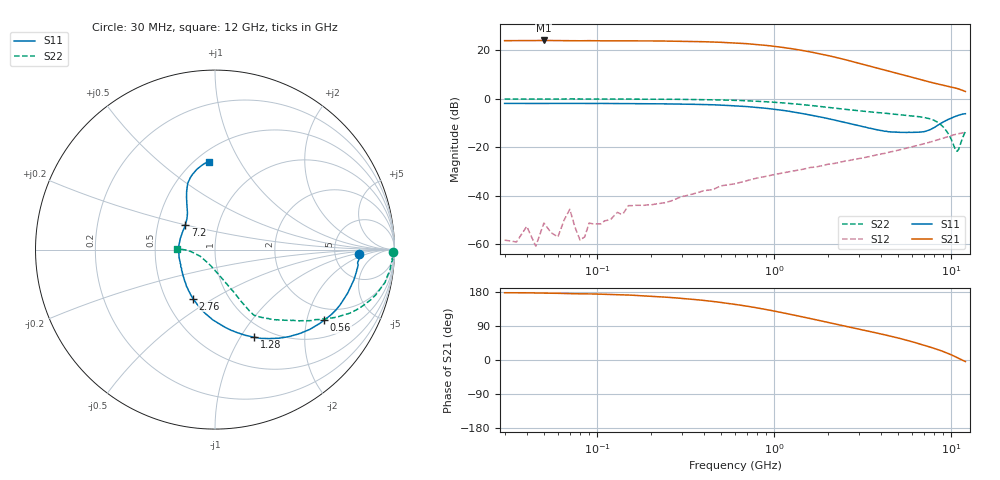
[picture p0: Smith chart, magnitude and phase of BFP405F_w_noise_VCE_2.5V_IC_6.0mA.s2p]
! Infineon Technologies  Discrete & RF Semiconductors
! BFP405F
! VCE =  2.5 V,  IC =  6.0 mA
! Common Emitter S-Parameters:  Nov 2015
# GHz  S  MA  R  50
!  f  S11  S21  S12  S22
! GHz  MAG  ANG  MAG  ANG  MAG  ANG  MAG  ANG
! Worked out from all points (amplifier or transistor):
!   239 points, 30 MHz to 12 GHz, reference 50 ohm
!   highest |S21| = 24.1 dB at 50 MHz (marker M1)
!   |S21| within 3 dB of that: start of sweep to 1.15 GHz
!   unconditionally stable (mu >= 1): 2.758 GHz to end of sweep
!   at 300 MHz: K = 0.03, MSG = 32.1 dB, |S12| = -40.4 dB
!   at 1.88 GHz: K = 0.73, MSG = 22.9 dB, |S12| = -27.5 dB
!   at 12 GHz: K = 1.44, MAG = 4.5 dB, |S12| = -13.9 dB
!   lowest NFmin = 1.38 dB at 450 MHz
!   S11 on the Smith chart (normalised r, x): 30 MHz: 8.95, -1.19; 560 MHz: 1.55, -2.56; 1.28 GHz: 0.84, -1.15; 2.76 GHz: 0.68, -0.41; 7.2 GHz: 0.69, +0.20; 12 GHz: 0.58, +0.75
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0.03  0.8022 -1.7  15.88 177.5  0.0012 13.0  0.9896 -0.8
0.04  0.8003 -2.2  15.91 177.3  0.0023 127.6  0.9877 -0.9
0.045  0.8002 -2.7  15.98 176.8  0.0009 45.1  0.9882 -1.1
0.05  0.8002 -3.2  16.05 176.4  0.0027 -12.5  0.9887 -1.3
0.06  0.805 -3.6  15.9 176.0  0.0014 61.7  0.9867 -1.5
0.07  0.8028 -4.3  15.9 175.0  0.0052 106.9  0.9943 -2.0
0.08  0.7997 -4.7  15.81 174.5  0.0012 -26.1  0.9884 -1.8
0.085  0.7988 -5.0  15.85 174.5  0.0014 45.1  0.9895 -2.2
0.14  0.7984 -8.5  15.8 172.1  0.0042 101.6  0.9893 -3.7
0.24  0.7857 -14.5  15.61 166.0  0.0071 81.8  0.9817 -6.6
0.4  0.7616 -24.0  15.11 157.2  0.0126 76.4  0.9645 -11.0
0.56  0.7245 -32.8  14.4 148.8  0.0169 78.4  0.9364 -14.8
0.6  0.7149 -35.0  14.23 146.7  0.0175 78.3  0.93 -15.8
0.9  0.6354 -49.8  12.7 133.1  0.025 71.6  0.8689 -22.0
1.28  0.534 -66.0  10.72 118.7  0.0322 65.5  0.7895 -28.0
1.64  0.4544 -79.3  9.134 108.2  0.0383 63.5  0.7232 -32.2
2.18  0.3647 -97.5  7.313 95.5  0.0461 60.9  0.6429 -38.1
2.76  0.2991 -114.0  5.909 85.2  0.0549 58.5  0.5831 -42.6
4.5  0.2081 -158.3  3.674 63.4  0.079 54.6  0.4939 -51.6
7.2  0.2147 140.4  2.324 37.2  0.1204 46.5  0.4025 -60.2
10.8  0.4472 104.7  1.627 6.1  0.1878 28.6  0.0825 -136.6
12  0.4916 93.9  1.417 -4.1  0.2018 22.2  0.2103 178.5
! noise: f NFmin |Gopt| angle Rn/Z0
0.45  1.38  0.34  6  0.33
0.9  1.39  0.31  11  0.33
1.5  1.45  0.29  18  0.31
1.9  1.48  0.27  24  0.3
2.4  1.63  0.26  33  0.32
3  1.7  0.24  45  0.31
3.5  1.75  0.22  54  0.28
4.5  1.9  0.17  62  0.22
5.5  2.12  0.09  71  0.09
